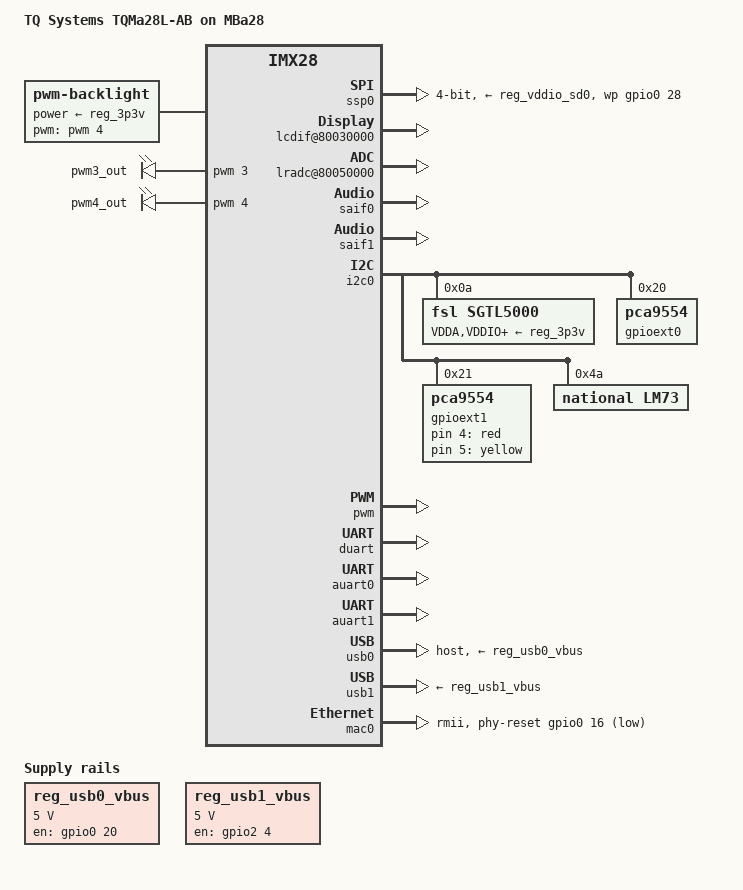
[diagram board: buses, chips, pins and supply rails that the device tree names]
/*
 * Copyright 2012 Freescale Semiconductor, Inc.
 *
 * The code contained herein is licensed under the GNU General Public
 * License. You may obtain a copy of the GNU General Public License
 * Version 2 or later at the following locations:
 *
 * http://www.opensource.org/licenses/gpl-license.html
 * http://www.gnu.org/copyleft/gpl.html
 */

/dts-v1/;
#include "imx28-tqma28l.dtsi"

/ {
	model = "TQ Systems TQMa28L-AB on MBa28";
	compatible = "tqs, mba28", "tqs,tqma28l", "tqs,tqma28", "fsl,imx28";

	apb@80000000 {
		apbh@80000000 {
			ssp0: ssp@80010000 {
				compatible = "fsl,imx28-mmc";
				pinctrl-names = "default";
				pinctrl-0 = <&mmc0_4bit_pins_a
						&mmc0_cd_cfg
						&mmc0_sck_cfg>;
				bus-width = <4>;
				wp-gpios = <&gpio0 28 0>;
				vmmc-supply = <&reg_vddio_sd0>;
				status = "okay";
			};

			pinctrl@80018000 {
				pinctrl-names = "default";
				pinctrl-0 = <&hog_pins_ab>;

				hog_pins_ab: hog-gpios@0 {
					reg = <0>;
					fsl,pinmux-ids = <
						MX28_PAD_GPMI_CE0N__GPIO_0_16
						MX28_PAD_GPMI_RDY0__GPIO_0_20
						MX28_PAD_SSP0_DATA4__GPIO_2_4
					>;
					fsl,drive-strength = <MXS_DRIVE_8mA>;
					fsl,voltage = <MXS_VOLTAGE_HIGH>;
					fsl,pull-up = <MXS_PULL_DISABLE>;
				};

				auart0_pins_b: auart0@0 {
					reg = <0>;
					fsl,pinmux-ids = <
						MX28_PAD_AUART0_RX__AUART0_RX
						MX28_PAD_AUART0_TX__AUART0_TX
						MX28_PAD_AUART0_RTS__AUART0_RTS
					>;
					fsl,drive-strength = <MXS_DRIVE_8mA>;
					fsl,voltage = <MXS_VOLTAGE_HIGH>;
					fsl,pull-up = <MXS_PULL_DISABLE>;
				};

				lcdif_pins_mba28l: lcdif-evk@0 {
					reg = <0>;
					fsl,pinmux-ids = <
						MX28_PAD_LCD_RD_E__LCD_VSYNC
						MX28_PAD_LCD_WR_RWN__LCD_HSYNC
						MX28_PAD_LCD_RS__LCD_DOTCLK
						MX28_PAD_LCD_CS__LCD_ENABLE
						MX28_PAD_LCD_RESET__LCD_RESET /* must be gpio? */
					>;
					fsl,drive-strength = <MXS_DRIVE_8mA>;
					fsl,voltage = <MXS_VOLTAGE_HIGH>;
					fsl,pull-up = <MXS_PULL_DISABLE>;
				};

				lcdif_24bit_pins_a: lcdif-24bit@0 {
					fsl,drive-strength = <MXS_DRIVE_8mA>;
				};

				mmc0_4bit_pins_a: mmc0-4bit@0 {
					fsl,pull-up = <MXS_PULL_DISABLE>;
				};

				mmc0_sck_cfg: mmc0-sck-cfg {
					fsl,voltage = <MXS_VOLTAGE_HIGH>;
					fsl,drive-strength = <MXS_DRIVE_8mA>;
					fsl,pull-up = <MXS_PULL_ENABLE>;
				};

				i2c0_pins_a: i2c0@0 {
					fsl,pull-up = <MXS_PULL_DISABLE>;
				};

				pwm4_pins_a: pwm4@0 {
					fsl,drive-strength = <MXS_DRIVE_8mA>;
					fsl,pull-up = <MXS_PULL_ENABLE>;
				};

				auart0_pins_a: auart0@0 {
					fsl,drive-strength = <MXS_DRIVE_8mA>;
				};

				auart1_2pins_a: auart1-2pins@0 {
					fsl,drive-strength = <MXS_DRIVE_8mA>;
				};
			};

			lcdif@80030000 {
				pinctrl-names = "default";
				pinctrl-0 = <&lcdif_24bit_pins_a
							 &lcdif_pins_mba28l>;
				display = <&display>;
				status = "okay";

				display: display {
					bits-per-pixel = <16>;
					bus-width = <18>;

					display-timings {
						native-mode = <&FG0700>;
						FG0700: timing0 {
							clock-frequency = <33260000>;
							hactive = <800>;
							vactive = <480>;
							hback-porch = <0>;
							hfront-porch = <256>;
							vback-porch = <0>;
							vfront-porch = <45>;
							hsync-len = <10>;
							vsync-len = <10>;
							hsync-active = <0>;
							vsync-active = <0>;
							de-active = <1>;
							pixelclk-active = <1>;
						};
					};
				};
			};
		};

		apbx@80040000 {
			lradc@80050000 {
				fsl,lradc-touchscreen-wires = <4>;
				status = "okay";
			};

			saif0: saif@80042000 {
				pinctrl-names = "default";
				pinctrl-0 = <&saif0_pins_a>;
				status = "okay";
			};

			saif1: saif@80046000 {
				pinctrl-names = "default";
				pinctrl-0 = <&saif1_pins_a>;
				fsl,saif-master = <&saif0>;
				status = "okay";
			};

			i2c0: i2c@80058000 {
				pinctrl-names = "default";
				pinctrl-0 = <&i2c0_pins_a>;
				status = "okay";

				sgtl5000: codec@0a {
					compatible = "fsl,sgtl5000";
					reg = <0x0a>;
					clocks = <&saif0>;
					VDDA-supply = <&reg_3p3v>;
					VDDIO-supply = <&reg_3p3v>;
					VDDD-supply = <&reg_3p3v>;
				};

				gpioext0: pca9554@20 {
					compatible = "pca9554";
					reg = <0x20>;
					#gpio-cells = <2>;
					gpio-controller;
				};

				gpioext1: pca9554@21 {
					compatible = "pca9554";
					reg = <0x21>;
					#gpio-cells = <2>;
					gpio-controller;
				};

				lm73@4a {
					compatible = "national,lm73";
					reg = <0x4a>;
				};
			};

			pwm: pwm@80064000 {
				compatible = "fsl,imx28-pwm", "fsl,mxs-pwm", "fsl,imx23-pwm";
				pinctrl-names = "default";
				pinctrl-0 = <
					&pwm2_pins_a
					&pwm3_pins_a
					&pwm4_pins_a
				>;
				status = "okay";
			};

			duart: serial@80074000 {
				pinctrl-names = "default";
				pinctrl-0 = <&duart_pins_a>;
				status = "okay";
			};

			auart0: serial@8006a000 {
				pinctrl-names = "default";
				pinctrl-0 = <&auart0_pins_b>;
				status = "okay";
			};

			auart1: serial@8006c000 {		/* AUART3 port */
				pinctrl-names = "default";
				pinctrl-0 = <&auart1_2pins_a>;
				status = "okay";
			};

			usbphy0: usbphy@8007c000 {
				status = "okay";
			};

			usbphy1: usbphy@8007e000 {
				status = "okay";
			};
		};
	};

	ahb@80080000 {
		usb0: usb@80080000 {
			vbus-supply = <&reg_usb0_vbus>;
			pinctrl-names = "default";
			pinctrl-0 = <&usbphy0_pins_a
					0x3121>; /* MX28_PAD_PWM2__USB0_ID */
			dr_mode = "host";
			status = "okay";
		};

		usb1: usb@80090000 {
			vbus-supply = <&reg_usb1_vbus>;
			pinctrl-names = "default";
			pinctrl-0 = <&usbphy1_pins_a>;
			status = "okay";
		};

		mac0: ethernet@800f0000 {
			phy-mode = "rmii";
			pinctrl-names = "default";
			pinctrl-0 = <&mac0_pins_a>;
			phy-reset-gpios = <&gpio0 16 0>;
			phy-reset-duration = <100>;
			status = "okay";
		};
	};

	regulators {
		compatible = "simple-bus";

		reg_usb0_vbus: usb0_vbus {
			compatible = "regulator-fixed";
			regulator-name = "usb0_vbus";
			regulator-min-microvolt = <5000000>;
			regulator-max-microvolt = <5000000>;
			gpio = <&gpio0 20 0>;
			enable-active-high;
		};

		reg_usb1_vbus: usb1_vbus {
			compatible = "regulator-fixed";
			regulator-name = "usb1_vbus";
			regulator-min-microvolt = <5000000>;
			regulator-max-microvolt = <5000000>;
			gpio = <&gpio2 4 0>;
			enable-active-high;
		};
	};

	sound {
		compatible = "fsl,imx28-evk-sgtl5000",
			     "fsl,mxs-audio-sgtl5000";
		model = "imx28-evk-sgtl5000";
		saif-controllers = <&saif0 &saif1>;
		audio-codec = <&sgtl5000>;
	};

	backlight {
		compatible = "pwm-backlight";
		pwms = <&pwm 4 5000000>;
		brightness-levels = <0 4 8 16 32 64 128 255>;
		default-brightness-level = <6>;
		pwm-names = "pwm-backlight";
		power-supply = <&reg_3p3v>;
	};

	pwm-leds {
		compatible = "pwm-leds";

		pwm3 {
			label = "pwm3_out";
			pwms = <&pwm 3 500000>;
			max-brightness = <255>;
		};

		pwm4 {
			label = "pwm4_out";
			pwms = <&pwm 4 500000>;
			max-brightness = <255>;
		};
	};

	gpio-leds {
		compatible = "gpio-leds";

		red {
			label = "red";
			gpios = <&gpioext1 4 0>;
			linux,default-trigger = "default-on";
			default-state = "on";
		};

		yellow {
			label = "yellow";
			gpios = <&gpioext1 5 0>;
			linux,default-trigger = "default-on";
			default-state = "on";
		};
	};
};
